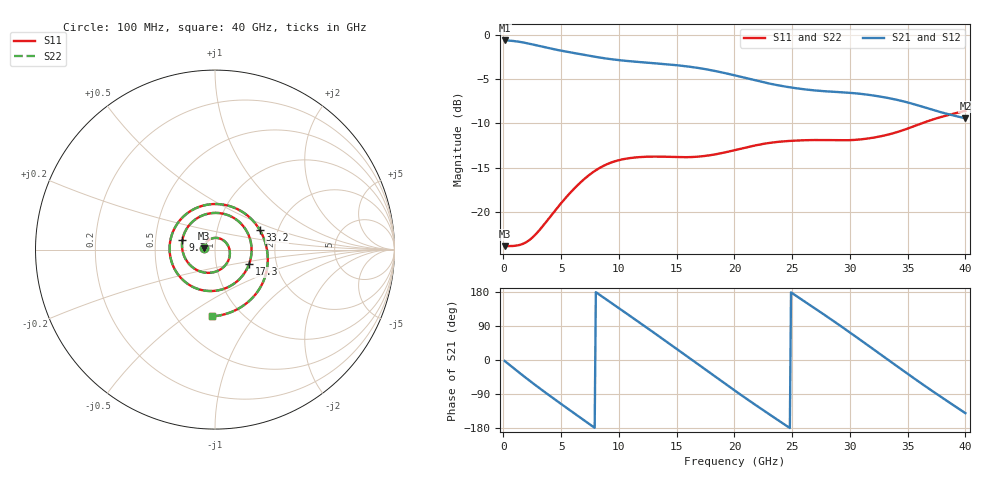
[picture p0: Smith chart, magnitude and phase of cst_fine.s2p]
! D_s8_stitch_5p0: L1 (ref L2) → L8 (ref L7), one GND via at 5 mm
! stackup: 8-layer 1.6 mm FR-4 (generic)
! ports: 1, 2
! CST Studio Suite 2025.5 Release from 2025-05-30, time domain (FIT, hexahedral, PBA), 616000 mesh cells, 92 s
! mesh: {'lpw': 30.0, 'lpb': 30.0, 'minstep': 0.0, 'ratio': 20}; ports: port 1 (face); port 2 (face)
! interpolated from CST's 1001 samples to the case grid
# Hz S RI R 50
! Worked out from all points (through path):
!   400 points, 100 MHz to 40 GHz, reference 50 ohm
!   highest |S21| = -0.60 dB at 100 MHz (marker M1); lowest = -9.4 dB at 40 GHz (marker M2)
!   group delay of S21, straight-line fit = 59.3 ps
!   lowest |S11| = -23.9 dB at 100 MHz (marker M3), VSWR 1.14, Z = 44 + j0.556 ohm
!   |S11| at or under -10 dB: start of sweep to 36.19 GHz
!   |S22| runs from -23.9 to -8.6 dB; largest |S21 - S12| = 2.2e-07
!   S11 on the Smith chart (normalised r, x): 100 MHz: 0.88, +0.01; 9.3 GHz: 0.69, +0.08; 17.3 GHz: 1.44, -0.25; 33.2 GHz: 1.61, +0.38; 40 GHz: 0.74, -0.64
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1e8  -0.0635 0.00629  0.9329 -0.0401  0.9329 -0.0401  -0.0635 0.00629
1.8e9  0.0143 0.0647  0.6555 -0.6271  0.6555 -0.6271  0.0143 0.0647
3.3e9  0.0812 -0.00187  0.1726 -0.8452  0.1726 -0.8452  0.0812 -0.00187
4.9e9  0.0437 -0.1009  -0.3325 -0.749  -0.3325 -0.749  0.0437 -0.1009
6.8e9  -0.0898 -0.1191  -0.7066 -0.3249  -0.7066 -0.3249  -0.0898 -0.1191
8e9  -0.1627 -0.0547  -0.7533 0.0139  -0.7533 0.0139  -0.1627 -0.0547
9.3e9  -0.1811 0.056  -0.6422 0.3503  -0.6422 0.3503  -0.1811 0.056
1.14e10  -0.0633 0.1928  -0.2059 0.6772  -0.2059 0.6772  -0.0632 0.1928
1.34e10  0.104 0.1769  0.3026 0.6207  0.3026 0.6207  0.104 0.1769
1.54e10  0.1969 0.0522  0.6292 0.2348  0.6292 0.2348  0.1969 0.0522
1.73e10  0.1894 -0.082  0.6011 -0.2346  0.6011 -0.2346  0.1895 -0.082
1.88e10  0.1321 -0.1685  0.362 -0.5005  0.362 -0.5005  0.1321 -0.1685
2.01e10  0.0529 -0.2174  0.0804 -0.5853  0.0804 -0.5853  0.0529 -0.2174
2.16e10  -0.0609 -0.2279  -0.2266 -0.5111  -0.2266 -0.5111  -0.0609 -0.2279
2.35e10  -0.1964 -0.1507  -0.4677 -0.2374  -0.4677 -0.2374  -0.1964 -0.1507
2.67e10  -0.2246 0.1199  -0.3833 0.3026  -0.3833 0.3026  -0.2247 0.1199
2.98e10  0.0102 0.2539  0.1069 0.4603  0.1069 0.4603  0.0102 0.2539
3.16e10  0.157 0.2073  0.3628 0.2821  0.3628 0.2821  0.157 0.2074
3.32e10  0.2492 0.1099  0.4416 0.0223  0.4416 0.0223  0.2492 0.1099
3.34e10  0.2573 0.0952  0.4394 -0.0115  0.4394 -0.0115  0.2574 0.0952
3.66e10  0.2672 -0.182  0.1283 -0.3658  0.1283 -0.3658  0.2672 -0.182
4e10  -0.0161 -0.3721  -0.2601 -0.2161  -0.2601 -0.2161  -0.0161 -0.3722
